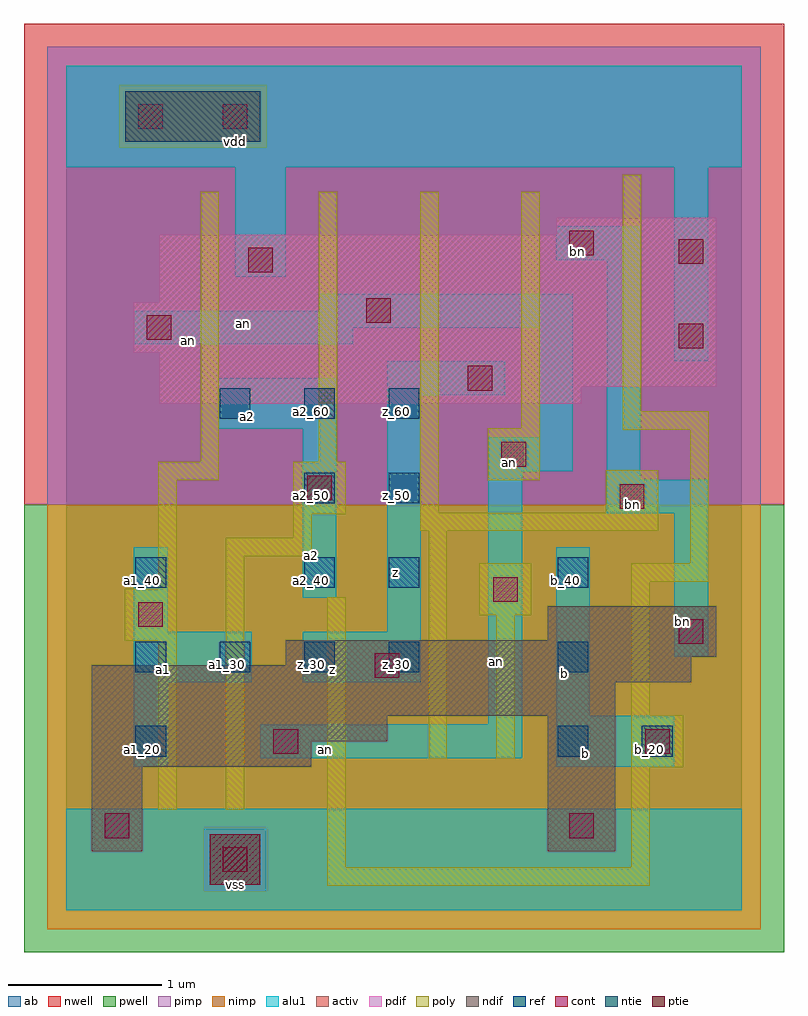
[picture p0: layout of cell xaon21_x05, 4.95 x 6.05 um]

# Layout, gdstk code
import gdstk
lib = gdstk.Library(unit=1e-6, precision=2.5e-09)
def R(c, l, rs):  # rectangles x0, y0, x1, y1
    for r in rs: c.add(gdstk.rectangle(r[:2], r[2:], *l))
def A(c, l, x, y, w, h, nx, ny, dx, dy):  # array of equal rectangles
    R(c, l, [(x+i*dx, y+j*dy, x+i*dx+w, y+j*dy+h) for i in range(nx) for j in range(ny)])
ndif = (3, 0)
pdif = (4, 0)
ntie = (5, 0)
ptie = (6, 0)
ref = (24, 0)
cont = (25, 0)
pwell = (41, 0)
nwell = (42, 0)
activ = (43, 0)
pimp = (44, 0)
nimp = (45, 0)
poly = (46, 0)
alu1 = (49, 0)
ab = (63, 0)

xaon21_x05 = lib.new_cell('xaon21_x05')
R(xaon21_x05, ndif, [(0.165,0.385,0.495,0.935), (3.135,0.385,3.575,1.265), (0.165,0.935,1.595,1.1), (0.165,1.1,2.09,1.265), (0.165,1.265,3.575,1.485), (0.165,1.485,4.07,1.595), (1.43,1.595,4.07,1.65), (1.43,1.65,4.235,1.76), (3.135,1.76,4.235,1.98)])
R(xaon21_x05, pdif, [(0.605,3.3,3.355,3.41), (0.605,3.41,4.235,3.63), (0.44,3.63,4.235,3.96), (0.605,3.96,4.235,4.4), (3.19,4.4,4.235,4.51)])
R(xaon21_x05, ntie, [(0.385,5.005,1.265,5.335)])
R(xaon21_x05, ptie, [(0.935,0.165,1.265,0.495)])
A(xaon21_x05, ref, 3.2, 1, 0.2, 0.2, 1, 3, 0, 0.55)
A(xaon21_x05, ref, 0.45, 1.55, 0.2, 0.2, 4, 1, 0.55, 0)
A(xaon21_x05, ref, 1, 3.2, 0.2, 0.2, 3, 1, 0.55, 0)
R(xaon21_x05, ref, [(0.45,1,0.65,1.2), (3.75,1,3.95,1.2), (0.45,2.1,0.65,2.3), (1.55,2.1,1.75,2.3), (2.1,2.1,2.3,2.3), (1.55,2.65,1.75,2.85), (2.1,2.65,2.3,2.85)])
R(xaon21_x05, cont, [(1.02,0.25,1.18,0.41), (0.25,0.47,0.41,0.63), (3.275,0.47,3.435,0.63), (1.35,1.02,1.51,1.18), (3.77,1.02,3.93,1.18), (2.01,1.515,2.17,1.675), (3.99,1.735,4.15,1.895), (0.47,1.845,0.63,2.005), (2.78,2.01,2.94,2.17), (3.605,2.615,3.765,2.775), (1.57,2.67,1.73,2.83), (2.835,2.89,2.995,3.05), (2.615,3.385,2.775,3.545), (3.99,3.66,4.15,3.82), (0.525,3.715,0.685,3.875), (1.955,3.825,2.115,3.985), (1.185,4.155,1.345,4.315), (3.99,4.21,4.15,4.37), (3.275,4.265,3.435,4.425), (0.47,5.09,0.63,5.25), (1.02,5.09,1.18,5.25)])
R(xaon21_x05, pwell, [(-0.275,-0.275,4.675,2.64)])
R(xaon21_x05, nwell, [(-0.275,2.64,4.675,5.775)])
R(xaon21_x05, activ, [(0.935,0.165,1.265,0.495), (0.165,0.385,0.495,0.935), (3.135,0.385,3.575,1.265), (0.165,0.935,1.595,1.1), (0.165,1.1,2.09,1.265), (0.165,1.265,3.575,1.485), (0.165,1.485,4.07,1.595), (1.43,1.595,4.07,1.65), (1.43,1.65,4.235,1.76), (3.135,1.76,4.235,1.98), (0.605,3.3,3.355,3.41), (0.605,3.41,4.235,3.63), (0.44,3.63,4.235,3.96), (0.605,3.96,4.235,4.4), (3.19,4.4,4.235,4.51), (0.385,5.005,1.265,5.335)])
R(xaon21_x05, pimp, [(0.895,0.125,1.305,0.535), (-0.125,2.64,4.525,4.965), (-0.125,4.965,0.345,5.375), (1.305,4.965,4.525,5.375), (-0.125,5.375,4.525,5.625)])
R(xaon21_x05, nimp, [(-0.125,-0.125,4.525,0.125), (-0.125,0.125,0.895,0.535), (1.305,0.125,4.525,0.535), (-0.125,0.535,4.525,2.64), (0.345,4.965,1.305,5.375)])
R(xaon21_x05, poly, [(1.7,0.16,3.8,0.28), (1.7,0.28,1.82,2.04), (3.68,0.28,3.8,0.93), (0.6,0.655,0.72,1.755), (1.04,0.655,1.16,2.305), (3.68,0.93,4.02,1.27), (2.36,0.985,2.48,2.47), (2.8,0.985,2.92,1.92), (3.68,1.27,3.8,2.14), (0.38,1.755,0.72,2.095), (2.69,1.92,3.03,2.26), (0.6,2.095,0.72,2.8), (3.68,2.14,4.185,2.26), (4.065,2.26,4.185,3.13), (1.04,2.305,1.6,2.425), (1.48,2.425,1.6,2.58), (2.305,2.47,3.855,2.59), (1.48,2.58,1.82,2.92), (2.305,2.59,2.425,4.68), (3.515,2.59,3.855,2.865), (0.6,2.8,0.995,2.92), (2.745,2.8,3.085,3.14), (0.875,2.92,0.995,4.68), (1.645,2.92,1.765,4.68), (3.625,3.13,4.185,3.25), (2.965,3.14,3.085,4.68), (3.625,3.25,3.745,4.79)])
R(xaon21_x05, alu1, [(0,0,4.4,0.66), (0.44,0.935,0.66,1.485), (3.19,0.935,3.96,1.265), (1.265,0.99,2.97,1.21), (2.75,1.21,2.97,2.86), (3.19,1.265,3.41,2.365), (0.44,1.485,1.21,1.815), (1.54,1.485,2.31,1.815), (3.96,1.65,4.18,2.585), (0.44,1.815,0.66,2.365), (2.09,1.815,2.31,3.355), (1.54,2.035,1.76,3.135), (3.52,2.585,4.18,2.805), (3.52,2.805,3.74,4.235), (2.75,2.86,3.3,3.08), (3.08,3.08,3.3,3.795), (0.99,3.135,1.76,3.465), (2.09,3.355,2.86,3.575), (3.96,3.575,4.18,4.84), (0.44,3.685,1.87,3.795), (0.44,3.795,3.3,3.905), (1.65,3.905,3.3,4.015), (1.1,4.125,1.43,4.84), (3.19,4.235,3.74,4.455), (0,4.84,4.4,5.5)])
R(xaon21_x05, ab, [(0,0,4.4,5.5)])
xaon21_x05.add(gdstk.Label('vss', (1.1,0.165), layer=49, texttype=0))
xaon21_x05.add(gdstk.Label('b', (3.3825,1.0175), layer=49, texttype=0))
xaon21_x05.add(gdstk.Label('bn', (4.015,1.8825), layer=49, texttype=0))
xaon21_x05.add(gdstk.Label('b', (3.245,1.54), layer=49, texttype=0))
xaon21_x05.add(gdstk.Label('an', (1.69,1.045), layer=49, texttype=0))
xaon21_x05.add(gdstk.Label('bn', (3.685,2.64), layer=49, texttype=0))
xaon21_x05.add(gdstk.Label('an', (2.805,1.6225), layer=49, texttype=0))
xaon21_x05.add(gdstk.Label('an', (2.8875,2.915), layer=49, texttype=0))
xaon21_x05.add(gdstk.Label('z', (1.7325,1.5675), layer=49, texttype=0))
xaon21_x05.add(gdstk.Label('a1', (0.6325,1.5675), layer=49, texttype=0))
xaon21_x05.add(gdstk.Label('z', (2.145,2.2), layer=49, texttype=0))
xaon21_x05.add(gdstk.Label('a2', (1.595,2.31), layer=49, texttype=0))
xaon21_x05.add(gdstk.Label('a2', (1.1825,3.2175), layer=49, texttype=0))
xaon21_x05.add(gdstk.Label('an', (0.7975,3.7125), layer=49, texttype=0))
xaon21_x05.add(gdstk.Label('an', (1.155,3.8225), layer=49, texttype=0))
xaon21_x05.add(gdstk.Label('bn', (3.3275,4.29), layer=49, texttype=0))
xaon21_x05.add(gdstk.Label('vdd', (1.1,5.005), layer=49, texttype=0))
xaon21_x05.add(gdstk.Label('a1_20', (0.5,1.05), layer=24, texttype=0))
xaon21_x05.add(gdstk.Label('b_20', (3.8,1.05), layer=24, texttype=0))
xaon21_x05.add(gdstk.Label('a2_40', (1.6,2.15), layer=24, texttype=0))
xaon21_x05.add(gdstk.Label('a2_50', (1.6,2.7), layer=24, texttype=0))
xaon21_x05.add(gdstk.Label('a2_60', (1.05,3.25), layer=24, texttype=0))
xaon21_x05.add(gdstk.Label('b_40', (3.25,2.15), layer=24, texttype=0))
xaon21_x05.add(gdstk.Label('b_30', (3.25,1.6), layer=24, texttype=0))
xaon21_x05.add(gdstk.Label('b_20', (3.25,1.05), layer=24, texttype=0))
xaon21_x05.add(gdstk.Label('z_30', (2.15,1.6), layer=24, texttype=0))
xaon21_x05.add(gdstk.Label('z_60', (2.15,3.25), layer=24, texttype=0))
xaon21_x05.add(gdstk.Label('z_50', (2.15,2.7), layer=24, texttype=0))
xaon21_x05.add(gdstk.Label('z_40', (2.15,2.15), layer=24, texttype=0))
xaon21_x05.add(gdstk.Label('a2_60', (1.6,3.25), layer=24, texttype=0))
xaon21_x05.add(gdstk.Label('a1_30', (1.05,1.6), layer=24, texttype=0))
xaon21_x05.add(gdstk.Label('z_30', (1.6,1.6), layer=24, texttype=0))
xaon21_x05.add(gdstk.Label('a1_40', (0.5,2.15), layer=24, texttype=0))
xaon21_x05.add(gdstk.Label('a1_30', (0.5,1.6), layer=24, texttype=0))

lib.write_gds('xaon21_x05.gds')
